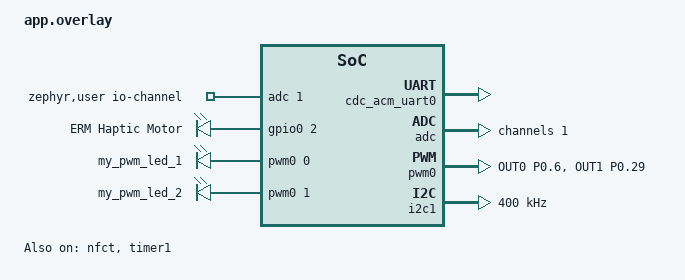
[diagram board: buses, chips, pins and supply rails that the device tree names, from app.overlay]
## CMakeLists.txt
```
# SPDX-License-Identifier: Apache-2.0

cmake_minimum_required(VERSION 3.20.0)
find_package(Zephyr REQUIRED HINTS $ENV{ZEPHYR_BASE})
project(GaitSyncAR_NRF_Sense)

target_sources(app PRIVATE 
    src/main.c 
    src/ble.c
    src/battery_monitor.c
    src/imu_step.c
    src/nfc.c
    src/device_role.c
    src/led_pwm.c
    src/clock_sync.c
    src/haptic.c
)
target_include_directories(app PUBLIC include)
```

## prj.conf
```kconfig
# --- USB & Console Routing ---
CONFIG_USB_DEVICE_STACK=y
CONFIG_USB_DEVICE_STACK_NEXT=n
CONFIG_USB_DEVICE_INITIALIZE_AT_BOOT=y

CONFIG_SERIAL=y
CONFIG_CONSOLE=y
CONFIG_UART_CONSOLE=y
CONFIG_UART_LINE_CTRL=y
CONFIG_PRINTK=y

# --- Hardware ---
CONFIG_GPIO=y

# --- Bluetooth Core ---
CONFIG_BT=y
CONFIG_BT_PERIPHERAL=y
CONFIG_BT_NUS=y

# --- Forcing name on ble
CONFIG_BT_DEVICE_NAME="GaitSync"
CONFIG_BT_SETTINGS=n
CONFIG_BT_DEVICE_NAME_DYNAMIC=n

# -- voltage reading
CONFIG_ADC=y

# --- Bluetooth Memory Tweaks ---
CONFIG_BT_MAX_CONN=1
CONFIG_BT_ID_MAX=1

# Give the Bluetooth stack more internal buffer space
CONFIG_BT_BUF_ACL_TX_COUNT=10
CONFIG_BT_BUF_EVT_RX_COUNT=15
CONFIG_BT_L2CAP_TX_BUF_COUNT=10

# Increase the system heap so the stack doesn't run out of memory
CONFIG_HEAP_MEM_POOL_SIZE=8192
CONFIG_MAIN_STACK_SIZE=8192
CONFIG_SYSTEM_WORKQUEUE_STACK_SIZE=4096

# Enabling Sensor API and Math library for IMU
CONFIG_SENSOR=y
CONFIG_NEWLIB_LIBC=y
CONFIG_FPU=y
CONFIG_I2C=y
# Power the IMU via the regulator API
CONFIG_REGULATOR=y
CONFIG_LSM6DSL=y

# Use the high-accuracy external crystal
CONFIG_CLOCK_CONTROL_NRF_K32SRC_XTAL=y

# Set the precision to match a standard crystal (usually 20 or 50 ppm)
CONFIG_CLOCK_CONTROL_NRF_K32SRC_20PPM=y

# --- NFC Support ---
CONFIG_NFC_T2T_NRFXLIB=y
CONFIG_NFC_NDEF=y
CONFIG_NFC_NDEF_MSG=y
CONFIG_NFC_NDEF_RECORD=y
CONFIG_NFC_NDEF_TEXT_RECORD=y
CONFIG_NRFX_NFCT=y
CONFIG_NFC_PLATFORM=y

# enables hardware pwm support, reducing cpu burden
CONFIG_PWM=y

# Enable the Multiprotocol Service Layer (MPSL)
CONFIG_MPSL=y
CONFIG_MPSL_TIMESLOT_SESSION_COUNT=1

# Enable nrfx_timer and nrfx_gppi, which are used in the clock synchronization implementation
CONFIG_NRFX_TIMER=y
CONFIG_NRFX_GPPI=y

# Disable the shared global workqueue for the IMU
CONFIG_LSM6DSL_TRIGGER_GLOBAL_THREAD=y

# Give the IMU driver its very own dedicated high-priority thread
CONFIG_LSM6DSL_TRIGGER_OWN_THREAD=y
CONFIG_LSM6DSL_THREAD_PRIORITY=2
CONFIG_LSM6DSL_THREAD_STACK_SIZE=2048
```

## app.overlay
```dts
/ {
	chosen {
		zephyr,console = &cdc_acm_uart0;
	};

	/* This creates a link we can grab in C code using ADC_DT_SPEC_GET */
	zephyr,user {
		io-channels = <&adc 1>;
	};

	aliases {
		pwm-led1 = &my_pwm_led_1;
		pwm-led2 = &my_pwm_led_2;
        haptic = &erm_motor;
	};

    custom_outputs {
		compatible = "gpio-leds";
		
		erm_motor: pin_a0 {
			/* P0.02 translates to Port 0, Pin 2 */
			gpios = <&gpio0 2 GPIO_ACTIVE_HIGH>;
			label = "ERM Haptic Motor";
		};
	};

	pwmleds {
		compatible = "pwm-leds";
		
		my_pwm_led_1: pwm_led_1 {
			pwms = <&pwm0 0 PWM_HZ(100) PWM_POLARITY_INVERTED>;
		};
		
		my_pwm_led_2: pwm_led_2 {
			pwms = <&pwm0 1 PWM_HZ(100) PWM_POLARITY_NORMAL>;
		};
	};
};

&zephyr_udc0 {
	cdc_acm_uart0: cdc_acm_uart0 {
		compatible = "zephyr,cdc-acm-uart";
	};
};

&nfct {
	status = "okay";
};

&adc {
	status = "okay";
	#address-cells = <1>;
	#size-cells = <0>;

	/* Configuration for AIN1 (Physical Pin P0.03 / A1) */
	channel@1 {
		reg = <1>;
		zephyr,gain = "ADC_GAIN_1_6";
		zephyr,reference = "ADC_REF_INTERNAL";
        // 40us required for 1M Ohm resistors
		zephyr,acquisition-time = <ADC_ACQ_TIME(ADC_ACQ_TIME_MICROSECONDS, 40)>;
		zephyr,input-positive = <NRF_SAADC_AIN1>; 
		zephyr,resolution = <12>;
	};
};

&pinctrl {
	pwm0_default: pwm0_default {
		group1 {
			/* NRF_PSEL(Function, Port, Pin) */
			psels = <NRF_PSEL(PWM_OUT0, 0, 6)>,
					<NRF_PSEL(PWM_OUT1, 0, 29)>;
		};
	};
	pwm0_sleep: pwm0_sleep {
		group1 {
			psels = <NRF_PSEL(PWM_OUT0, 0, 6)>,
					<NRF_PSEL(PWM_OUT1, 0, 29)>;
			low-power-enable;
		};
	};
};

&pwm0 {
	status = "okay";
	pinctrl-0 = <&pwm0_default>;
	pinctrl-1 = <&pwm0_sleep>;
	pinctrl-names = "default", "sleep";
};

&lsm6ds3tr_c {
    irq-gpios = <&gpio0 11 GPIO_ACTIVE_HIGH>;
};

&timer1 {
    status = "okay";
};

&i2c1 {
    status = "okay";
    clock-frequency = <I2C_BITRATE_FAST>; // Sets speed to 400kHz
};
```

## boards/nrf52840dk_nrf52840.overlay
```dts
/ {
    aliases {
        custom-led = &my_external_led;
    };

    leds {
        compatible = "gpio-leds";
        my_external_led: led_d7 {
            /* P1.12 maps to &gpio1 12 */
            gpios = <&gpio1 12 GPIO_ACTIVE_HIGH>;
            label = "External LED on D7";
        };
    };
};
```

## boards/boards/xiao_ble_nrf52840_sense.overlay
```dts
/ {
    aliases {
        custom-led = &my_external_led;
    };

    leds {
        compatible = "gpio-leds";

        my_external_led: led_d7 {
            gpios = <&gpio1 12 GPIO_ACTIVE_HIGH>;
            label = "External LED on D7";
        };
    };

    zephyr,user {
        io-channels = <&adc 1>;
    };
};

&adc {
    status = "okay";

    channel@1 {
        reg = <1>;
        zephyr,gain = "ADC_GAIN_1_6";
        zephyr,reference = "ADC_REF_INTERNAL";
        zephyr,acquisition-time = <ADC_ACQ_TIME_DEFAULT>;
        zephyr,input-positive = <NRF_SAADC_INPUT_AIN1>;
        zephyr,resolution = <12>;
    };
};

&nfct {
    status = "okay";
};
```

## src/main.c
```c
#include <zephyr/kernel.h>
#include <zephyr/sys/printk.h>
#include <zephyr/drivers/gpio.h>
#include <stdio.h>
// custom modules
#include "ble_handler.h"
#include "battery_monitor.h"
#include "imu_step.h"
#include "nfc_handler.h"
#include "device_role.h"
#include "led_pwm.h"
#include "clock_sync.h"
#include <zephyr/drivers/sensor.h>
#include "app_events.h"
#include <hal/nrf_ppi.h>
#include <hal/nrf_timer.h>
#include <hal/nrf_gpiote.h>
#include <hal/nrf_gpio.h>
#include "haptic.h"


// Fields
static const struct device *const imu_dev = DEVICE_DT_GET_ANY(st_lsm6dsl);
#define IMU_INTERRUPT_PIN 11 

// Allocates the actual RAM using the rules defined in the header
K_MSGQ_DEFINE(app_msgq, sizeof(app_event_t), APP_MSGQ_MAX_EVENTS, APP_MSGQ_ALIGNMENT);

// Hardware timestamping of the IMU interrupt using PPI and GPIOTE
void init_ppi_timestamping(void) {
    // 1. Configure the GPIO pin itself
    nrf_gpio_cfg_input(IMU_INTERRUPT_PIN, NRF_GPIO_PIN_PULLDOWN);

    // 2. Configure GPIOTE Channel 7 manually for High Accuracy
    // We use the direct register access to ensure 'Mode' is set to 'Event' (0x01)
    // and 'Polarity' is set to 'LoToHi' (0x01)
    NRF_GPIOTE->CONFIG[7] = (GPIOTE_CONFIG_MODE_Event << GPIOTE_CONFIG_MODE_Pos) |
                            (IMU_INTERRUPT_PIN << GPIOTE_CONFIG_PSEL_Pos) |
                            (GPIOTE_CONFIG_POLARITY_LoToHi << GPIOTE_CONFIG_POLARITY_Pos);

    // 3. Wire the PPI Channel 0
    // Task: Capture Timer 1 into CC[3] when GPIOTE Event 7 fires
    nrf_ppi_channel_endpoint_setup(
        NRF_PPI,
        NRF_PPI_CHANNEL0,
        (uint32_t)&NRF_GPIOTE->EVENTS_IN[7],
        nrf_timer_task_address_get(NRF_TIMER1, NRF_TIMER_TASK_CAPTURE3)
    );

    // 4. Enable the PPI channel
    nrf_ppi_channel_enable(NRF_PPI, NRF_PPI_CHANNEL0);
    
    printk("Hardware High-Accuracy PPI Timestamping Enabled.\n");
}

int main(void) {

    // Initialize LED module
    led_pwm_init();

    // configuring imu step detection //
    imu_step_config_t step_cfg = {
        .threshold = 1600,    // MUST spike above 16 m/s^2 to count as a landing
        .noise_floor = 650,   // MUST drop below 6.5 m/s^2 to count as swinging in the air
        .cooldown_ms = 350
    };

    if (imu_step_init(step_cfg) != 0) {
        printk("IMU Init Failed!\n");
    }

    // flushing stale data before boot up
    sensor_sample_fetch(imu_dev);

    // Wait for USB console to stabilize //
    k_sleep(K_MSEC(3000));
    printk("\n--- GaitSyncAR Booting Up ---\n");

    // fetch device identity and assign role //
    device_role_init();

    // Initialize BLE //
    if (ble_handler_init() != 0) {
        printk("FATAL: Failed to start BLE!\n");
    }
    k_sleep(K_MSEC(50));

    // Initialize NFC //
    int nfc_err = nfc_handler_init();
    if (nfc_err != 0) {
        printk("NFC Init Failed: %d\n", nfc_err);
    } else {
        printk("  -> NFC Tag Emulation Started!\n");
    }

    // Initialize Battery Monitor //
    int err = battery_monitor_init();
    if (err != 0) {
        printk("Battery Monitor Init Failed: %d\n", err);
    }

    // Initialize Haptic Feedback //
    if (haptic_init() != 0) {
        printk("Failed to init haptic module!\n");
    }

    // Initialize Clock Synchronization //
    clock_sync_init();

    // Initialize hardware timestamping of the IMU interrupt
    init_ppi_timestamping();

    // Starting event driven main loop
    printk("--- Starting Event-Driven System ---\n");
    app_event_t pending_event;
    uint64_t last_slow_task_time = k_uptime_get();

    while (1) {
        // Sleep for 500ms. 
        int msg_status = k_msgq_get(&app_msgq, &pending_event, K_MSEC(500));

        // ROUTING EVENT IMMEDIATELY
        if (msg_status == 0) {
            
            if (pending_event.type == EVENT_STEP_DETECTED) {
                // Send step to Unity
                send_step_event(pending_event.step_timestamp);
                printk("Sent Step to Unity: %llu us\n", pending_event.step_timestamp);
                
            } else if (pending_event.type == EVENT_SYNC_COMPLETED) {
                imu_step_reset_trigger();
                
                // sending acknowledgment back to Unity that sync is complete, along with the baseline timestamp for reference
                send_sync_ack_event(global_sync_baseline_us);

                printk("HARDWARE SYNC COMPLETE at baseline %llu us\n", global_sync_baseline_us);

            } else if (pending_event.type == EVENT_FLUSH_IMU) {
                // Handle IMU flush event
                // Primary node blackout ended. Flush the IMU to un-stick the pin.
                sensor_sample_fetch(imu_dev);

            } else if (pending_event.type == EVENT_METRONOME_SYNC) {
                haptic_sync(
                    pending_event.metronome.play, 
                    pending_event.metronome.bpm, 
                    pending_event.metronome.phase_offset,
                    pending_event.metronome.is_next_beat_right
                );
            }
        }

        // --- BACKGROUND TASKS ---
        // 2 seconds
        uint64_t now = k_uptime_get();
        if ((now - last_slow_task_time) >= 2000) {
            last_slow_task_time = now; 
            
            // reading battery level every 2 seconds and sending to Unity
            uint8_t batt = battery_monitor_get_percentage();
            send_battery_event(batt);
        }
    }

    return 0;
}
```

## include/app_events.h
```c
#ifndef APP_EVENTS_H
#define APP_EVENTS_H

#include <zephyr/kernel.h>
#include <stdbool.h>
#include <stdint.h>

// --- QUEUE CONFIGURATION ---
#define APP_MSGQ_MAX_EVENTS 10
#define APP_MSGQ_ALIGNMENT  8

// --- EVENT DEFINITIONS ---
typedef enum {
    EVENT_STEP_DETECTED,
    EVENT_SYNC_COMPLETED,
    EVENT_FLUSH_IMU,
    EVENT_METRONOME_SYNC
} app_event_type_t;

typedef struct {
    app_event_type_t type;

    // saving memory, we never use both in 1 event
    union {
        uint64_t step_timestamp; 
        
        struct {
            bool play;
            uint8_t bpm;
            uint16_t phase_offset;
            bool is_next_beat_right;
        } metronome;
    };
} app_event_t;

// --- QUEUE DECLARATION ---
extern struct k_msgq app_msgq;

#endif // APP_EVENTS_H
```

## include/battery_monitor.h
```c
#ifndef BATTERY_MONITOR_H
#define BATTERY_MONITOR_H

#include <stdint.h>

#define BATT_MAX_MV 3600
#define BATT_MIN_MV 2500

/**
 * @brief Initialize the ADC for battery monitoring on P0.03
 * @return 0 on success, negative error code otherwise.
 */
int battery_monitor_init(void);

/**
 * @brief Read the battery voltage through the 1:1 divider
 * @return The battery voltage in millivolts (mV)
 */
uint32_t battery_monitor_get_mv(void);

/**
 * @brief Get battery capacity as a percentage (0-100)
 * @return uint8_t percentage
 */
uint8_t battery_monitor_get_percentage(void);

#endif // BATTERY_MONITOR_H
```

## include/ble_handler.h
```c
#ifndef BLE_HANDLER_H
#define BLE_HANDLER_H

#include <zephyr/types.h>

/**
 * @brief Initializes the Bluetooth stack, the Nordic UART Service (NUS),
 * and starts advertising to mobile devices.
 * * @return 0 on success, negative error code on failure.
 */
int ble_handler_init(void);

/**
 * @brief Sends a string or byte array to the connected Unity app via NUS.
 * * @param data Pointer to the data buffer.
 * @param len  Length of the data.
 * @return 0 on success, negative error code on failure.
 */
int ble_handler_send(const uint8_t *data, uint16_t len);

/**
 * @brief Sends a step event to the connected Unity app via NUS.
 * @param time_stamp The timestamp for the step event in microseconds.
 */
void send_step_event(uint64_t time_stamp);

/**
 * @brief Sends a battery level event to the connected Unity app via NUS.
 * @param battery_level Battery level as a percentage (0-100).
 */
void send_battery_event(uint8_t battery_level);

/// @brief Sends a synchronization acknowledgment event to the connected Unity app via NUS.
/// @param baseline_time The global sync baseline time in milliseconds to include in the event.
void send_sync_ack_event(uint64_t baseline_time);

#endif /* BLE_HANDLER_H */
```

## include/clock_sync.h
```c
#ifndef CLOCK_SYNC_H
#define CLOCK_SYNC_H

#include <stdint.h>
#include <stdbool.h>

/**
 * @brief Initializes the MPSL timeslot session.
 * * Based on the device role (Primary/Secondary), it registers the 
 * appropriate hardware callbacks to handle raw radio operations.
 */
void clock_sync_init(void);

/**
 * @brief Requests a radio timeslot from the MPSL.
 * * This temporarily pauses BLE activity to allow for high-priority 
 * hardware-to-hardware clock synchronization.
 */
void request_sync_timeslot(void);

/**
 * @brief Flag indicating if a valid hardware sync has occurred.
 */
extern volatile bool is_hardware_synced;

// This is the global baseline timestamp that all step events will be relative to after sync.
extern volatile uint64_t global_sync_baseline_us;

// This is the captured hardware time at the moment of the tap, used for calculating the global timestamp.
extern volatile uint64_t local_sync_anchor_us;

// This flag ensures we only send one sync acknowledgment per sync event, preventing duplicates.
extern volatile bool sync_ack_sent;

#endif // CLOCK_SYNC_H
```

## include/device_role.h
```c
#ifndef DEVICE_ROLE_H
#define DEVICE_ROLE_H

#include <stdbool.h>

// available roles for the device, determined by hardware ID
// Primary is the master node, secondary is the follower
// primary should be the right ankle sensor, secondary should be the left ankle sensor
typedef enum {
    ROLE_UNKNOWN = 0,
    ROLE_PRIMARY,
    ROLE_SECONDARY
} device_role_t;

/**
 * @brief Reads the hardware ID and assigns the device role.
 */
void device_role_init(void);

/**
 * @brief Returns the current role of the device.
 */
device_role_t device_role_get(void);

/**
 * @brief Helper function. Returns true if this board is the Primary node.
 */
bool device_role_is_primary(void);

#endif /* DEVICE_ROLE_H */
```

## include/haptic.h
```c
#ifndef HAPTIC_H
#define HAPTIC_H

#include <zephyr/kernel.h>
#include <stdbool.h>
#include <stdint.h>

// Initializes the timer, work queues, and GPIO for the haptic motor
int haptic_init(void);

/** @brief Syncs the hardware timer to Unity.
 * play: 1 to run, 0 to stop
 * bpm: Beats per minute
 * phase_offset_ms: How far into the current beat cycle we are
 */
void haptic_sync(bool play, uint8_t bpm, uint16_t phase_offset_ms, bool is_next_beat_right);

#endif // HAPTIC_H
```

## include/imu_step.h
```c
#ifndef IMU_STEP_H
#define IMU_STEP_H

#include <stdint.h>
#include <stdbool.h>

/**
 * @brief Configuration structure for the IMU step detection algorithm.
 * * Contains raw thresholds and temporal constraints for the gait state machine.
 * The _sq members are pre-calculated during init to avoid costly square root 
 * operations in high-frequency interrupt contexts.
 */
typedef struct {
    int32_t threshold;
    int32_t noise_floor;
    uint32_t cooldown_ms;
    
    // Auto-calculated integer squared thresholds
    int64_t threshold_sq;    
    int64_t noise_floor_sq;
} imu_step_config_t;

/**
 * @brief Initializes the LSM6DSL sensor and prepares the step detection algorithm.
 * * Attaches to the sensor device, configures the 833Hz ODR (Output Data Rate),
 * enables pulsed interrupts on the INT1 pin, and pre-calculates the squared 
 * thresholds for the magnitude logic.
 * * @param config The user-defined thresholds and cooldown parameters.
 * @return 0 on success, or a negative error code if the sensor cannot be reached.
 */
int imu_step_init(imu_step_config_t config);

/**
 * @brief Safely resets the Zephyr trigger state machine to recover from deadlocks.
 * Disables the interrupt, flushes the I2C buffer, and re-arms the handler.
 */
void imu_step_reset_trigger(void);

#endif // IMU_STEP_H
```

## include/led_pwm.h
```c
#ifndef LED_PWM_H
#define LED_PWM_H

// Initializes the GPIO pins and starts the 100Hz background PWM timer using the hardware PWM controller.
// After this is called, the LEDs will pulse autonomously without any further CPU intervention.
void led_pwm_init(void);

#endif // LED_PWM_H
```

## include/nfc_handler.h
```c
#ifndef NFC_HANDLER_H
#define NFC_HANDLER_H

#include <zephyr/types.h>

/**
 * @brief Initializes Bluetooth to retrieve the MAC address, 
 * sets up the NFC T2T library, and starts emulation.
 * * @return 0 on success, negative error code on failure.
 */
int nfc_handler_init(void);

#endif /* NFC_HANDLER_H */
```

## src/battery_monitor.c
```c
#include <zephyr/kernel.h>
#include <zephyr/drivers/adc.h>
#include <zephyr/devicetree.h>
#include "battery_monitor.h"

/* Grabs the configuration directly from overlay */
static const struct adc_dt_spec adc_chan0 = ADC_DT_SPEC_GET_BY_IDX(DT_PATH(zephyr_user), 0);

// Rolling average variables to smooth out BLE voltage sag
#define NUM_SAMPLES 8
static uint8_t sample_history[NUM_SAMPLES] = {0};
static uint8_t sample_index = 0;
static bool array_filled = false;
static uint8_t last_reported_percentage = 255; // 255 means "uninitialized"

// Millivolts vs Percentage for LiFePO4
static const uint32_t lut_mv[] = { 3550, 3400, 3300, 3200, 3100, 2500 };
static const uint8_t lut_pct[] = { 100,  99,   70,   30,   10,   0    };
#define LUT_SIZE (sizeof(lut_pct) / sizeof(lut_pct[0]))


// -------------------------------------------------------------------------
// Initialization
// -------------------------------------------------------------------------
int battery_monitor_init(void) {
    if (!adc_is_ready_dt(&adc_chan0)) {
        return -ENODEV;
    }

    printk("  -> Enabling Battery Monitor (LiFePO4)...\n");
    return adc_channel_setup_dt(&adc_chan0);
}

// -------------------------------------------------------------------------
// Hardware Voltage Read
// -------------------------------------------------------------------------
uint32_t battery_monitor_get_mv(void) {
    int16_t buf;
    struct adc_sequence seq = {
        .buffer = &buf,
        .buffer_size = sizeof(buf),
    };

    /* This helper automatically pulls resolution/gain/acq-time from the overlay */
    adc_sequence_init_dt(&adc_chan0, &seq);
    adc_read_dt(&adc_chan0, &seq);

    int32_t mv = (int32_t)buf;
    adc_raw_to_millivolts_dt(&adc_chan0, &mv);
    
    // Multiplier for 1:1 (1M Ohm / 1M Ohm) resistor divider
    return (uint32_t)(mv * 2); 
}

// -------------------------------------------------------------------------
// Raw LiFePO4 Percentage Calculation (private)
// -------------------------------------------------------------------------
static uint8_t get_raw_battery_percent(void) {
    uint32_t mv = battery_monitor_get_mv();

    // Checking Out-of-Bounds
    if (mv >= lut_mv[0]) return 100;
    if (mv <= lut_mv[LUT_SIZE - 1]) return 0;

    // Finding the segment in the table
    for (int i = 0; i < LUT_SIZE - 1; i++) {
        if (mv >= lut_mv[i + 1]) {
            uint32_t start_mv = lut_mv[i];
            uint32_t end_mv = lut_mv[i + 1];
            uint8_t start_pct = lut_pct[i];
            uint8_t end_pct = lut_pct[i + 1];

            // Linear Interpolation within this specific segment
            return end_pct + (uint8_t)((mv - end_mv) * (start_pct - end_pct) / (start_mv - end_mv));
        }
    }
    return 0;
}

// -------------------------------------------------------------------------
// Smoothed Output (public)
// -------------------------------------------------------------------------
uint8_t battery_monitor_get_percentage(void) {
    uint8_t current_sample = get_raw_battery_percent(); 

    sample_history[sample_index] = current_sample;
    sample_index++;

    if (sample_index >= NUM_SAMPLES) {
        sample_index = 0;
        array_filled = true; 
    }

    if (!array_filled) {
        // Just return the raw value while booting up so we don't send 0
        last_reported_percentage = current_sample;
        return current_sample;
    }

    uint32_t sum = 0;
    for (int i = 0; i < NUM_SAMPLES; i++) {
        sum += sample_history[i];
    }
    
    uint8_t true_average = (uint8_t)(sum / NUM_SAMPLES);

    // Hysteresus filter
    // If this is our very first time calculating the average, lock it in.
    if (last_reported_percentage == 255) {
        last_reported_percentage = true_average;
    } 
    // Otherwise, ONLY updating the reported value if the true average has 
    // drifted by MORE than 1% away from the last reported value.
    else {
        // We cast to int to safely check absolute difference without unsigned wrapping
        int diff = (int)true_average - (int)last_reported_percentage;
        
        // If the change is +2% or -2%, accept the new value
        if (diff >= 2 || diff <= -2) {
            last_reported_percentage = true_average;
        }
    }

    // Return the locked-in value
    return last_reported_percentage;
}
```

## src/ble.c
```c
#include "ble_handler.h"
#include <zephyr/kernel.h>
#include <zephyr/bluetooth/bluetooth.h>
#include <zephyr/bluetooth/gatt.h>
#include <zephyr/bluetooth/conn.h>
#include <zephyr/bluetooth/uuid.h>
#include <bluetooth/services/nus.h>
#include <stdio.h>
#include <string.h>
#include "device_role.h"
#include "clock_sync.h"
#include <stdbool.h>
#include <stdint.h>
#include "app_events.h"

// Fields
static struct bt_conn *active_conn = NULL;
static struct k_work_delayable adv_start_work;
extern struct k_msgq app_msgq;

// foward declations
void on_ble_rx_received(const uint8_t *data, uint16_t len);

static struct bt_data ad[] = {
    BT_DATA_BYTES(BT_DATA_FLAGS, (BT_LE_AD_GENERAL | BT_LE_AD_NO_BREDR)),
    BT_DATA_BYTES(BT_DATA_UUID128_ALL, BT_UUID_NUS_VAL),
    BT_DATA_BYTES(BT_DATA_MANUFACTURER_DATA, 0xFF, 0xFF, 0x01),
};

static const struct bt_data sd_primary[] = {
    BT_DATA(BT_DATA_NAME_COMPLETE, "GaitSync-Right", 14),
};

static const struct bt_data sd_secondary[] = {
    BT_DATA(BT_DATA_NAME_COMPLETE, "GaitSync-Left", 13),
};

// ----------------------- Custom Binary Payloads ----------------------- //

// --- Battery event (Type 2) --- //
struct __attribute__((packed)) BatteryData {
    uint8_t type; 
    uint8_t level; 
};
#define BATTERY_EVENT_INIT(lvl) { .type = 2, .level = (lvl) }

// --- Step event (Type 1) --- //
struct __attribute__((packed)) GaitData {
    uint8_t type;       
    uint64_t timestamp; 
};
#define GAIT_EVENT_INIT(timestamp_val) { .type = 1, .timestamp = (timestamp_val) }

// --- Sync Acknowledgment (Type 4) --- //
struct __attribute__((packed)) SyncAckData {
    uint8_t type;       
    uint64_t timestamp;
};
#define SYNC_ACK_INIT(timestamp_val) { .type = 4, .timestamp = (timestamp_val) }

// ---------------------------------------------------------------------- //

void send_step_event(uint64_t time_stamp) {
    struct GaitData myData = GAIT_EVENT_INIT(time_stamp);
    ble_handler_send((uint8_t *)&myData, sizeof(myData));
}

void send_battery_event(uint8_t battery_level) {
    struct BatteryData myData = BATTERY_EVENT_INIT(battery_level);
    ble_handler_send((uint8_t *)&myData, sizeof(myData));
}

void send_sync_ack_event(uint64_t baseline_time) {
    struct SyncAckData myData = SYNC_ACK_INIT(baseline_time);
    ble_handler_send((uint8_t *)&myData, sizeof(myData));
}

// ---------------------------------------------------------------------- //

static struct bt_le_adv_param adv_param = {
    .options = BT_LE_ADV_OPT_CONN,
    .interval_min = BT_GAP_ADV_FAST_INT_MIN_2,
    .interval_max = BT_GAP_ADV_FAST_INT_MAX_2,
    .peer = NULL,
};

/* --- WORK HANDLERS --- */
static void restart_ad_handler(struct k_work *work)
{
    bt_le_adv_stop();
    k_sleep(K_MSEC(50));

    int err;
    bool is_primary = device_role_is_primary();

    err = bt_le_adv_start(&adv_param, 
                            ad, 
                            ARRAY_SIZE(ad), 
                            is_primary ? sd_primary : sd_secondary, 
                            is_primary ? ARRAY_SIZE(sd_primary) : ARRAY_SIZE(sd_secondary));
    
    if (err) {
        printk("Adv restart failed (err %d). Retrying...\n", err);
        k_work_reschedule(&adv_start_work, K_MSEC(1000));
    } else {
        printk(">>> Advertising restarted successfully! <<<\n");
    }
}

/* --- CONNECTION CALLBACKS --- */
static void on_connected(struct bt_conn *conn, uint8_t err) {
    if (err) {
        printk("Connection failed (err %u)\n", err);
        return;
    }
    active_conn = bt_conn_ref(conn);
    printk(">>> BLE Connected <<<\n");
}

static void on_disconnected(struct bt_conn *conn, uint8_t reason) {
    printk(">>> BLE Disconnected (Reason %u) <<<\n", reason);

    if (active_conn) {
        bt_conn_unref(active_conn);
        active_conn = NULL;
    }

    k_work_reschedule(&adv_start_work, K_MSEC(500));
}

BT_CONN_CB_DEFINE(conn_callbacks) = {
    .connected = on_connected,
    .disconnected = on_disconnected,
};

/* --- API IMPLEMENTATION --- */
static void bt_receive_cb(struct bt_conn *conn, const uint8_t *const data, uint16_t len) {
    on_ble_rx_received(data, len); 
}

static struct bt_nus_cb nus_cb = {
    .received = bt_receive_cb,
};

int ble_handler_init(void) {
    int err;

    printk("  -> Init Workqueue...\n");
    k_work_init_delayable(&adv_start_work, restart_ad_handler);

    printk("  -> Enabling Bluetooth Stack...\n");
    err = bt_enable(NULL);
    if (err) return err;

    printk("  -> Initializing NUS Service...\n");
    err = bt_nus_init(&nus_cb);
    if (err) return err;

    printk("  -> Starting Advertising...\n");
    k_sleep(K_MSEC(100)); 

    bool is_primary = device_role_is_primary();
    err = bt_le_adv_start(&adv_param, 
                          ad, 
                          ARRAY_SIZE(ad), 
                          is_primary ? sd_primary : sd_secondary, 
                          is_primary ? ARRAY_SIZE(sd_primary) : ARRAY_SIZE(sd_secondary));
    if (err) return err;

    printk("  -> BLE Ready!\n");
    return 0;
}

int ble_handler_send(const uint8_t *data, uint16_t len) {
    if (!active_conn) return -ENOTCONN;
    return bt_nus_send(active_conn, data, len);
}

void on_ble_rx_received(const uint8_t *data, uint16_t len) {
    if (len == 1 && data[0] == 0x3) {
        printk("Unity triggered Sync, Requesting timeslot...\n");
        request_sync_timeslot();
    }
    else if (len == 6 && data[0] == 0x5) {
        app_event_t sync_event;
        sync_event.type = EVENT_METRONOME_SYNC;
        sync_event.metronome.play = (data[1] == 1);
        sync_event.metronome.bpm = data[2];
        sync_event.metronome.is_next_beat_right = (data[3] == 1);
        sync_event.metronome.phase_offset = (uint16_t)(data[4] | (data[5] << 8));
        
        k_msgq_put(&app_msgq, &sync_event, K_NO_WAIT);
    }
}
```

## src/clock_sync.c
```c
#include "clock_sync.h"
#include <zephyr/kernel.h>
#include <zephyr/sys/printk.h>
#include <mpsl_timeslot.h>
#include <hal/nrf_radio.h>
#include <hal/nrf_clock.h>
#include <hal/nrf_timer.h>
#include <hal/nrf_ppi.h>
#include "device_role.h"
#include "app_events.h"

// --- CONFIGURATION ---
#define TIMESLOT_LENGTH_US 65000   
#define CUSTOM_SYNC_FREQ 80

// At 1 Mbps, 1 bit takes exactly 1 microsecond.
// Preamble (8) + Address (40) + Payload (80) + CRC (16) = 144us Airtime
// 144us Airtime + 6us Disable + 20us Wait + 130us TXEN + ~2us processing = ~302us
#define BURST_LOOP_DELAY_US 303

// Time from capturing the timestamp to the moment the first packet's ADDRESS physically hits the air.
// TX Ramp-up (130us) + Preamble (8us) + Address (40us) = 178us
#define FIRST_PACKET_OFFSET_US -4100 // Adjusted after empirical testing to account for processing and radio state change delays

// --- GLOBALS ---
static mpsl_timeslot_session_id_t m_session_id;
// Byte 0 = Index, Bytes 1-8 = 64-bit Timestamp, Byte 9 = Pad
static uint8_t sync_packet[10] = {0x00};

volatile uint64_t captured_hardware_time_us = 0;
volatile bool is_hardware_synced = false;
volatile uint64_t global_sync_baseline_us = 0;
volatile bool baseline_update_pending = false;
volatile bool sync_ack_sent = false;
volatile uint64_t local_sync_anchor_us = 0;

// --- SHARED RADIO CONFIG ---
static void configure_radio_hardware(void) {
    nrf_radio_power_set(NRF_RADIO, true);
    nrf_radio_mode_set(NRF_RADIO, NRF_RADIO_MODE_BLE_1MBIT);
    nrf_radio_frequency_set(NRF_RADIO, CUSTOM_SYNC_FREQ);
    
    nrf_radio_txaddress_set(NRF_RADIO, 0);
    nrf_radio_rxaddresses_set(NRF_RADIO, 1);
    
    nrf_radio_prefix0_set(NRF_RADIO, 0xC0);
    nrf_radio_base0_set(NRF_RADIO, 0x01234567);

    // Wipe out BLE settings and force a raw 8-byte packet ---
    NRF_RADIO->PCNF0 = 0; // Disable S0, Length, and S1 fields
    
    // MAXLEN = 10, STATLEN = 10, Base Address Length = 4
    NRF_RADIO->PCNF1 = (10UL << RADIO_PCNF1_MAXLEN_Pos)  | 
                       (10UL << RADIO_PCNF1_STATLEN_Pos) | 
                       (4UL << RADIO_PCNF1_BALEN_Pos);

    nrf_radio_crc_configure(NRF_RADIO, RADIO_CRCCNF_LEN_Two, NRF_RADIO_CRC_ADDR_INCLUDE, 0x11021);
    // Forcing CRC starting seed to be identical on both devices
    nrf_radio_crcinit_set(NRF_RADIO, 0xFFFF);
}

// --- THE PRIMARY CALLBACK ---
static mpsl_timeslot_signal_return_param_t* primary_timeslot_callback(
    mpsl_timeslot_session_id_t session_id, uint32_t signal_type) 
{
    static mpsl_timeslot_signal_return_param_t return_param;
    return_param.callback_action = MPSL_TIMESLOT_SIGNAL_ACTION_NONE;

    if (signal_type == MPSL_TIMESLOT_SIGNAL_START) {
        
        // Safe Clock Start
        nrf_clock_event_clear(NRF_CLOCK, NRF_CLOCK_EVENT_HFCLKSTARTED);
        nrf_clock_task_trigger(NRF_CLOCK, NRF_CLOCK_TASK_HFCLKSTART);
        uint32_t fail_safe = 10000;
        while (!nrf_clock_event_check(NRF_CLOCK, NRF_CLOCK_EVENT_HFCLKSTARTED) && --fail_safe);
        if (fail_safe == 0) goto cleanup; 

        // STARTTING TIMER1 ON PRIMARY SO IMU INTERRUPT CAN USE IT
        nrf_timer_mode_set(NRF_TIMER1, NRF_TIMER_MODE_TIMER);
        nrf_timer_bit_width_set(NRF_TIMER1, NRF_TIMER_BIT_WIDTH_32);
        nrf_timer_prescaler_set(NRF_TIMER1, NRF_TIMER_FREQ_1MHz);
        nrf_timer_task_trigger(NRF_TIMER1, NRF_TIMER_TASK_CLEAR);
        nrf_timer_task_trigger(NRF_TIMER1, NRF_TIMER_TASK_START);

        configure_radio_hardware();
        nrf_radio_txpower_set(NRF_RADIO, NRF_RADIO_TXPOWER_0DBM);

        // Capture time in microseconds, storing in packet for the secondary to read. This is moment that defines our sync point.
        // Driven by the 64MHz/16MHz system clock (True microsecond resolution)
        uint64_t primary_start_us = k_ticks_to_us_floor64(k_uptime_ticks());
        memcpy(&sync_packet[1], &primary_start_us, sizeof(primary_start_us));

        // BURST MODE: Fire the packet 150 times safely
        for (int i = 0; i < 150; i++) {
            
            // Injecting the current loop index into the very first byte of the payload
            // we can use this to calculate the actual synced moment on the secondary and compensate for any consistent delays in our processing or the radio's state changes
            sync_packet[0] = (uint8_t)i;

            nrf_radio_packetptr_set(NRF_RADIO, sync_packet);
            
            // Wait for TX to be ready
            nrf_radio_event_clear(NRF_RADIO, NRF_RADIO_EVENT_READY);
            nrf_radio_task_trigger(NRF_RADIO, NRF_RADIO_TASK_TXEN);
            fail_safe = 10000;
            while (!nrf_radio_event_check(NRF_RADIO, NRF_RADIO_EVENT_READY) && --fail_safe);
            if (fail_safe == 0) break; 
            
            // Send packet
            nrf_radio_event_clear(NRF_RADIO, NRF_RADIO_EVENT_END);
            nrf_radio_task_trigger(NRF_RADIO, NRF_RADIO_TASK_START);
            
            fail_safe = 10000;
            while (!nrf_radio_event_check(NRF_RADIO, NRF_RADIO_EVENT_END) && --fail_safe);
            if (fail_safe == 0) break; 
            
            // SAFELY turn off radio before next loop
            nrf_radio_event_clear(NRF_RADIO, NRF_RADIO_EVENT_DISABLED);
            nrf_radio_task_trigger(NRF_RADIO, NRF_RADIO_TASK_DISABLE);
            
            fail_safe = 10000;
            while(!nrf_radio_event_check(NRF_RADIO, NRF_RADIO_EVENT_DISABLED) && --fail_safe);
            if (fail_safe == 0) break; 
            
            k_busy_wait(20);
        }
cleanup:
        // Setting baseline
        global_sync_baseline_us = primary_start_us;
        local_sync_anchor_us = primary_start_us;
        // Force the radio to turn off and WAIT for it
        nrf_radio_event_clear(NRF_RADIO, NRF_RADIO_EVENT_DISABLED);
        nrf_radio_task_trigger(NRF_RADIO, NRF_RADIO_TASK_DISABLE);
        uint32_t off_safe = 10000;
        while(!nrf_radio_event_check(NRF_RADIO, NRF_RADIO_EVENT_DISABLED) && --off_safe);

        // Wipe every flag back to 0
        nrf_radio_event_clear(NRF_RADIO, NRF_RADIO_EVENT_READY);
        nrf_radio_event_clear(NRF_RADIO, NRF_RADIO_EVENT_ADDRESS);
        nrf_radio_event_clear(NRF_RADIO, NRF_RADIO_EVENT_END);
        nrf_radio_event_clear(NRF_RADIO, NRF_RADIO_EVENT_DISABLED);

        // radio blackout over, unstick IMU if it was stuck on the radio interrupt
        app_event_t flush_event;
        flush_event.type = EVENT_FLUSH_IMU;
        k_msgq_put(&app_msgq, &flush_event, K_NO_WAIT);

        return_param.callback_action = MPSL_TIMESLOT_SIGNAL_ACTION_END;
    }
    return &return_param;
}

// --- THE SECONDARY CALLBACK ---
static mpsl_timeslot_signal_return_param_t* secondary_timeslot_callback(
    mpsl_timeslot_session_id_t session_id, uint32_t signal_type) 
{
    static mpsl_timeslot_signal_return_param_t return_param;
    return_param.callback_action = MPSL_TIMESLOT_SIGNAL_ACTION_NONE;

    if (signal_type == MPSL_TIMESLOT_SIGNAL_START) {
        // Safe Clock Start
        nrf_clock_event_clear(NRF_CLOCK, NRF_CLOCK_EVENT_HFCLKSTARTED);
        nrf_clock_task_trigger(NRF_CLOCK, NRF_CLOCK_TASK_HFCLKSTART);
        uint32_t fail_safe = 10000;
        while (!nrf_clock_event_check(NRF_CLOCK, NRF_CLOCK_EVENT_HFCLKSTARTED) && --fail_safe);
        if (fail_safe == 0) goto cleanup;

        // Setup Timer
        nrf_timer_mode_set(NRF_TIMER1, NRF_TIMER_MODE_TIMER);
        nrf_timer_bit_width_set(NRF_TIMER1, NRF_TIMER_BIT_WIDTH_32);
        nrf_timer_prescaler_set(NRF_TIMER1, NRF_TIMER_FREQ_1MHz);
        nrf_timer_task_trigger(NRF_TIMER1, NRF_TIMER_TASK_CLEAR);
        nrf_timer_task_trigger(NRF_TIMER1, NRF_TIMER_TASK_START);

        // Setup PPI
        nrf_ppi_channel_endpoint_setup(NRF_PPI, NRF_PPI_CHANNEL19, 
            (uint32_t)nrf_radio_event_address_get(NRF_RADIO, NRF_RADIO_EVENT_ADDRESS),
            (uint32_t)nrf_timer_task_address_get(NRF_TIMER1, NRF_TIMER_TASK_CAPTURE0));
        nrf_ppi_channel_enable(NRF_PPI, NRF_PPI_CHANNEL19);

        // Setup Radio
        configure_radio_hardware();
        nrf_radio_packetptr_set(NRF_RADIO, sync_packet); 

        nrf_radio_event_clear(NRF_RADIO, NRF_RADIO_EVENT_READY);
        nrf_radio_task_trigger(NRF_RADIO, NRF_RADIO_TASK_RXEN);
        
        fail_safe = 10000;
        while (!nrf_radio_event_check(NRF_RADIO, NRF_RADIO_EVENT_READY) && --fail_safe);
        if (fail_safe == 0) goto cleanup; 
        
        nrf_radio_event_clear(NRF_RADIO, NRF_RADIO_EVENT_END);
        nrf_radio_task_trigger(NRF_RADIO, NRF_RADIO_TASK_START);

        // TIMEOUT LOOP (50ms Window)
       bool packet_received = false;

        while (1) {
            nrf_timer_task_trigger(NRF_TIMER1, NRF_TIMER_TASK_CAPTURE1);
            uint64_t current_time_us = nrf_timer_cc_get(NRF_TIMER1, NRF_TIMER_CC_CHANNEL1);

            if (current_time_us >= 50000) { 
                // 50ms absolute timeout reached. Bail out safely before the 65ms MPSL limit
                break; 
            }

            if (nrf_radio_event_check(NRF_RADIO, NRF_RADIO_EVENT_END)) {
                if (nrf_radio_event_check(NRF_RADIO, NRF_RADIO_EVENT_CRCOK)) {
                    packet_received = true;
                    break;
                } else {
                    // Noise, false trigger, or partial packet. Clear and go back to listening safely.
                    nrf_radio_event_clear(NRF_RADIO, NRF_RADIO_EVENT_END);
                    nrf_radio_event_clear(NRF_RADIO, NRF_RADIO_EVENT_CRCOK);
                    nrf_radio_event_clear(NRF_RADIO, NRF_RADIO_EVENT_CRCERROR);
                    nrf_radio_event_clear(NRF_RADIO, NRF_RADIO_EVENT_READY);
                    nrf_radio_task_trigger(NRF_RADIO, NRF_RADIO_TASK_START);
                }
            }
        }

        // Process Result
        if (packet_received) {
            captured_hardware_time_us = nrf_timer_cc_get(NRF_TIMER1, NRF_TIMER_CC_CHANNEL0);

            uint8_t packet_index = sync_packet[0];
            uint64_t primary_timestamp_us;
            memcpy(&primary_timestamp_us, &sync_packet[1], sizeof(primary_timestamp_us));

            // Calculating EXACT global transmission moment utilizing new constraints
            uint64_t primary_packet_tx_time = primary_timestamp_us + FIRST_PACKET_OFFSET_US + (packet_index * BURST_LOOP_DELAY_US);

            // Establishing perfect alignment mapping for Timer1 Zero point
            global_sync_baseline_us = primary_packet_tx_time - captured_hardware_time_us;
            
            is_hardware_synced = true;

            // Adding sync ack event to message queue
            app_event_t sync_event;
            sync_event.type = EVENT_SYNC_COMPLETED;
            k_msgq_put(&app_msgq, &sync_event, K_NO_WAIT);
        }

cleanup:
        // Force the radio to turn off and WAIT for it
        nrf_radio_event_clear(NRF_RADIO, NRF_RADIO_EVENT_DISABLED);
        nrf_radio_task_trigger(NRF_RADIO, NRF_RADIO_TASK_DISABLE);
        uint32_t off_safe = 10000;
        while(!nrf_radio_event_check(NRF_RADIO, NRF_RADIO_EVENT_DISABLED) && --off_safe);

        // Wipe every radio flag back to 0
        nrf_radio_event_clear(NRF_RADIO, NRF_RADIO_EVENT_READY);
        nrf_radio_event_clear(NRF_RADIO, NRF_RADIO_EVENT_ADDRESS);
        nrf_radio_event_clear(NRF_RADIO, NRF_RADIO_EVENT_END);
        nrf_radio_event_clear(NRF_RADIO, NRF_RADIO_EVENT_DISABLED);

        if (!packet_received) {
            app_event_t flush_event;
            flush_event.type = EVENT_FLUSH_IMU;
            k_msgq_put(&app_msgq, &flush_event, K_NO_WAIT);
        }

        // Clean PPI channel
        nrf_ppi_channel_disable(NRF_PPI, NRF_PPI_CHANNEL19);
        return_param.callback_action = MPSL_TIMESLOT_SIGNAL_ACTION_END;
    }
    return &return_param;
}

// --- PUBLIC API ---

void clock_sync_init(void) {
    int32_t err;

    if (device_role_is_primary()) {
        err = mpsl_timeslot_session_open(primary_timeslot_callback, &m_session_id);
        printk("Timeslot Session Opened: PRIMARY\n");
    } else {
        err = mpsl_timeslot_session_open(secondary_timeslot_callback, &m_session_id);
        printk("Timeslot Session Opened: SECONDARY\n");
    }
    
    if (err) {
        printk("FATAL: Failed to open timeslot session: %d\n", err);
    }
}

void request_sync_timeslot(void) {
    static mpsl_timeslot_request_t request;
    is_hardware_synced = false; 
    sync_ack_sent = false; 
    baseline_update_pending = false;
    captured_hardware_time_us = 0;
    global_sync_baseline_us = 0;
    
    request.request_type = MPSL_TIMESLOT_REQ_TYPE_EARLIEST;
    request.params.earliest.hfclk = MPSL_TIMESLOT_HFCLK_CFG_NO_GUARANTEE;
    request.params.earliest.priority = MPSL_TIMESLOT_PRIORITY_HIGH;
    request.params.earliest.length_us = TIMESLOT_LENGTH_US;
    request.params.earliest.timeout_us = 1000000; 

    int32_t err = mpsl_timeslot_request(m_session_id, &request);
    
    if (err) {
        printk("Warning: Could not request timeslot: %d\n", err);
    } else {
        printk("Timeslot requested successfully.\n");
    }
}
```
